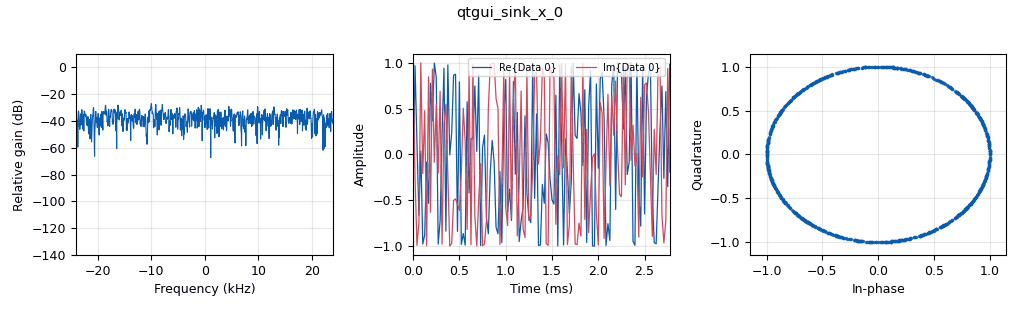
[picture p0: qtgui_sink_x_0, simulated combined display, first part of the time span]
<?xml version='1.0' encoding='utf-8'?>
<?grc format='1' created='3.7.10'?>
<flow_graph>
<block>
<key>options</key>
<param><key>id</key><value>top_block</value></param>
<param><key>author</key><value>Alexandros-Apostolos A. Boulogeorgos</value></param>
<param><key>generate_options</key><value>qt_gui</value></param>
<param><key>title</key><value>Continious PM</value></param>
</block>
<block>
<key>variable</key>
<param><key>id</key><value>samp_rate</value></param>
<param><key>value</key><value>48000</value></param>
</block>
<block>
<key>analog_random_source_x</key>
<param><key>id</key><value>analog_random_source_x_0</value></param>
<param><key>max</key><value>256</value></param>
<param><key>min</key><value>0</value></param>
<param><key>num_samps</key><value>1000</value></param>
<param><key>type</key><value>byte</value></param>
<param><key>repeat</key><value>True</value></param>
</block>
<block>
<key>digital_cpmmod_bc</key>
<param><key>id</key><value>digital_cpmmod_bc_0</value></param>
<param><key>type</key><value>analog.cpm.TFM</value></param>
<param><key>mod_index</key><value>0.5</value></param>
<param><key>L</key><value>4</value></param>
<param><key>samples_per_symbol</key><value>4</value></param>
</block>
<block>
<key>qtgui_sink_x</key>
<param><key>id</key><value>qtgui_sink_x_0</value></param>
<param><key>bw</key><value>samp_rate</value></param>
<param><key>fc</key><value>0</value></param>
<param><key>freqchangevar</key><value>None</value></param>
<param><key>fftsize</key><value>1024</value></param>
<param><key>showports</key><value>True</value></param>
<param><key>type</key><value>complex</value></param>
<param><key>wintype</key><value>firdes.WIN_BLACKMAN_hARRIS</value></param>
</block>
<connection><source_block_id>analog_random_source_x_0</source_block_id><sink_block_id>digital_cpmmod_bc_0</sink_block_id><source_key>0</source_key><sink_key>0</sink_key></connection>
<connection><source_block_id>digital_cpmmod_bc_0</source_block_id><sink_block_id>qtgui_sink_x_0</sink_block_id><source_key>0</source_key><sink_key>0</sink_key></connection>
</flow_graph>
